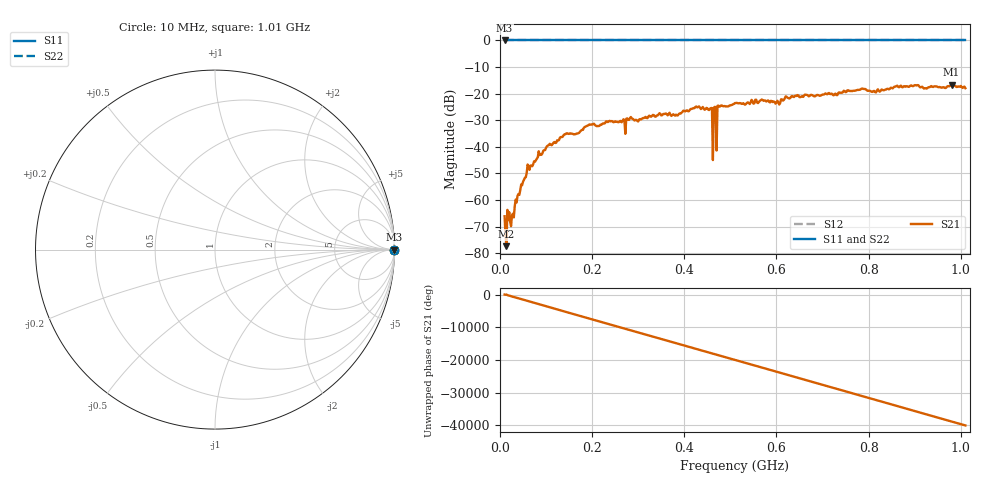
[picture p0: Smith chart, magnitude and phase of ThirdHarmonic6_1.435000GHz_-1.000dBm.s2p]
! 8/16/2025 4:34:14 PM
! C:\ANRITSUVNA\TEMP\TEMP.S2P
! CHANNEL.1
! TR.MEASUREMENT
! RAW.DATA
! RF.CORRECTION.OFF
! AVERAGING.OFF
! IF.BANDWIDTH: 5KHZ
! SWEEPTYPE:  FREQ.SWEEP(Linear)
! Reference Plane Port Info
! PORT:  PORT1  PORT2
! DISTANCE:  0  m  0  m
! TIME:  0  s  0  s
! PHASE.OFFSET:  0  deg.  0  deg.
! LOSS:  0  dB  0  dB
! REF.LOSS:  0  dB  0  dB
! REF.FREQ:  0  Hz  0  Hz
! Power Info
! POWER:  -20  dBm  -20  dBm
! EFF.POWER:  -20  dBm  -20  dBm
! SOURCE.ATTEN:  0  dB  0  dB
! TEST.ATTEN:  0  dB  0  dB
# GHZ S RI R 50.0
! FREQ.GHZ  S11RE  S11IM  S21RE  S21IM  S12RE  S12IM  S22RE  S22IM
!; PortSelection: Port_12
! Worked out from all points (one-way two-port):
!   501 points, 10 MHz to 1.01 GHz, reference 50 ohm
!   highest |S21| = -16.64 dB at 980 MHz (marker M1); lowest = -77.3 dB at 14 MHz (marker M2)
!   lowest |S11| = 0.0 dB at 10 MHz (marker M3)
!   |S11| at or under -10 dB: nowhere
!   |S22| runs from 0.0 to 0.0 dB; largest |S21 - S12| = 1.1
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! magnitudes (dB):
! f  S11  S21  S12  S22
! 10 MHz  0.0  -66.1  0.0  0.0
! 14 MHz  0.0  -77.3  0.0  0.0
! 20 MHz  0.0  -64.5  0.0  0.0
! 26 MHz  0.0  -65.8  0.0  0.0
! 36 MHz  0.0  -60.9  0.0  0.0
! 64 MHz  0.0  -48.6  0.0  0.0
! 106 MHz  0.0  -39.3  0.0  0.0
! 178 MHz  0.0  -33.6  0.0  0.0
! 344 MHz  0.0  -27.8  0.0  0.0
! 456 MHz  0.0  -25.6  0.0  0.0
! 458 MHz  0.0  -25.4  0.0  0.0
! 464 MHz  0.0  -25.3  0.0  0.0
! 466 MHz  0.0  -25.0  0.0  0.0
! 468 MHz  0.0  -25.0  0.0  0.0
! 474 MHz  0.0  -24.5  0.0  0.0
! 476 MHz  0.0  -24.9  0.0  0.0
! 510 MHz  0.0  -23.5  0.0  0.0
! 602 MHz  0.0  -22.7  0.0  0.0
! 678 MHz  0.0  -20.6  0.0  0.0
! 844 MHz  0.0  -18.4  0.0  0.0
! 980 MHz  0.0  -16.6  0.0  0.0
! 1.01 GHz  0.0  -17.9  0.0  0.0
